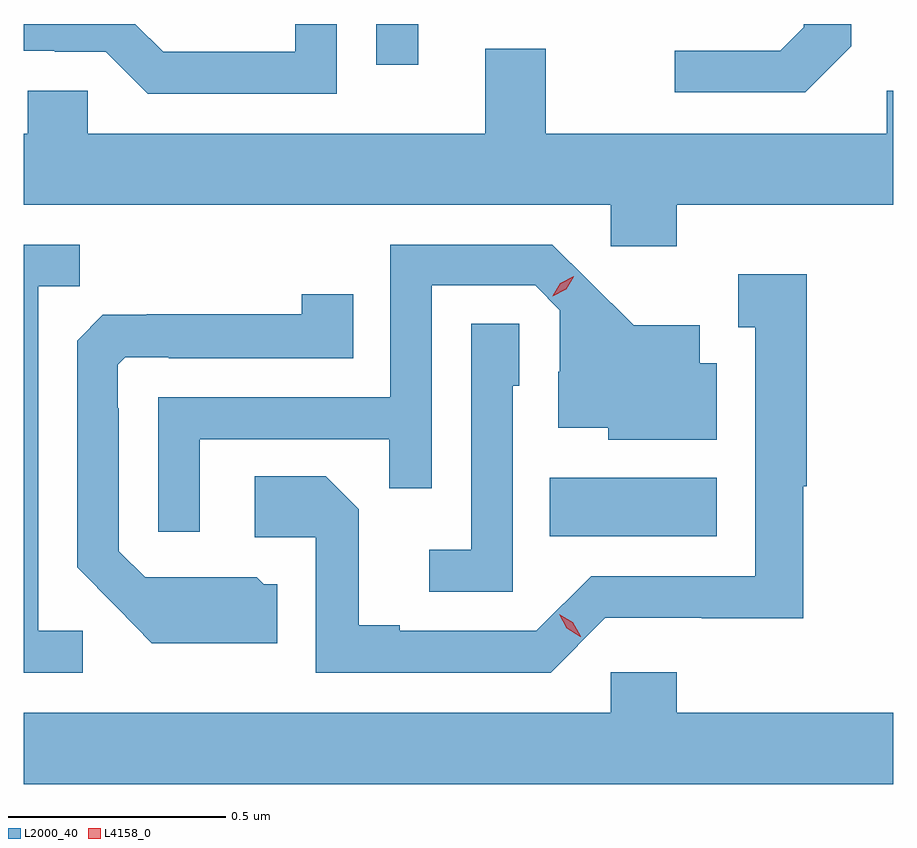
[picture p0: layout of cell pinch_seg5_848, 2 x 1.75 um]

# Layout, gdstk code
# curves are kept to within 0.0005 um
import gdstk
lib = gdstk.Library(unit=1e-6, precision=1e-09)
def R(c, l, rs):  # rectangles x0, y0, x1, y1
    for r in rs: c.add(gdstk.rectangle(r[:2], r[2:], *l))
def P(c, l, *ps):  # polygons
    for p in ps: c.add(gdstk.Polygon(p, *l))
L2000_40 = (2000, 40)
L4158_0 = (4158, 0)

pinch_seg5_848 = lib.new_cell('pinch_seg5_848')
R(pinch_seg5_848, L2000_40, [(768.292,875.978,768.676,876.112), (767.893,877.062,767.989,877.156)])
P(pinch_seg5_848, L2000_40, [(767.802,877.156),(767.706,877.156),(767.706,877.092),(767.403,877.092),(767.339,877.156),(767.082,877.156),(767.082,877.095),(767.153,877.095),(767.153,877.092),(767.271,877.092),(767.367,876.996),(767.802,876.996)],
  [(768.985,877.105),(768.985,877.156),(768.876,877.156),(768.876,877.149),(768.822,877.095),(768.579,877.095),(768.579,876.999),(768.879,876.999)],
  [(768.584,876.74),(769.082,876.74),(769.082,877.003),(769.067,877.003),(769.067,876.904),(768.283,876.904),(768.283,877.099),(768.143,877.099),(768.143,876.904),(767.229,876.904),(767.229,877.002),(767.091,877.002),(767.091,876.904),(767.082,876.904),(767.082,876.74),(768.432,876.74),(768.432,876.645),(768.584,876.645)],
  [(767.218,875.76),(767.115,875.76),(767.115,876.553),(767.211,876.553),(767.211,876.648),(767.082,876.648),(767.082,875.664),(767.218,875.664)],
  [(767.487,876.201),(767.923,876.201),(767.923,876.088),(768.021,876.088),(768.021,876.555),(768.258,876.555),(768.315,876.498),(768.315,876.356),(768.311,876.356),(768.311,876.227),(768.426,876.227),(768.426,876.2),(768.676,876.2),(768.676,876.376),(768.637,876.376),(768.637,876.463),(768.485,876.463),(768.298,876.648),(767.925,876.648),(767.925,876.297),(767.391,876.297),(767.391,875.988),(767.487,875.988)],
  [(768.42,875.79),(768.642,875.79),(768.642,875.789),(768.875,875.789),(768.875,876.093),(768.883,876.093),(768.883,876.58),(768.725,876.58),(768.725,876.459),(768.764,876.459),(768.764,875.886),(768.387,875.886),(768.261,875.76),(767.947,875.76),(767.947,875.773),(767.853,875.773),(767.853,876.04),(767.777,876.116),(767.613,876.116),(767.613,875.976),(767.754,875.976),(767.754,875.664),(768.294,875.664)],
  [(767.665,875.868),(767.634,875.868),(767.618,875.884),(767.484,875.884),(767.484,875.883),(767.361,875.883),(767.301,875.943),(767.301,876.272),(767.298,876.272),(767.298,876.372),(767.316,876.39),(767.416,876.39),(767.416,876.387),(767.84,876.387),(767.84,876.535),(767.722,876.535),(767.722,876.488),(767.365,876.488),(767.365,876.487),(767.264,876.487),(767.205,876.428),(767.205,875.906),(767.377,875.732),(767.665,875.732)],
  [(768.207,876.324),(768.222,876.324),(768.222,876.467),(768.111,876.467),(768.111,875.947),(768.015,875.947),(768.015,875.85),(768.207,875.85)],
  [(769.082,875.572),(768.584,875.572),(768.584,875.665),(768.432,875.665),(768.432,875.572),(767.082,875.572),(767.082,875.408),(769.082,875.408)])
P(pinch_seg5_848, L4158_0, [(768.362,875.747),(768.331,875.766),(768.314,875.799),(768.314,875.799),(768.314,875.799),(768.345,875.78),(768.363,875.748),(768.363,875.747)],
  [(768.299,876.53),(768.299,876.531),(768.316,876.56),(768.347,876.576),(768.347,876.576),(768.347,876.575),(768.33,876.546),(768.299,876.53)])

lib.write_gds('pinch_seg5_848.gds')
